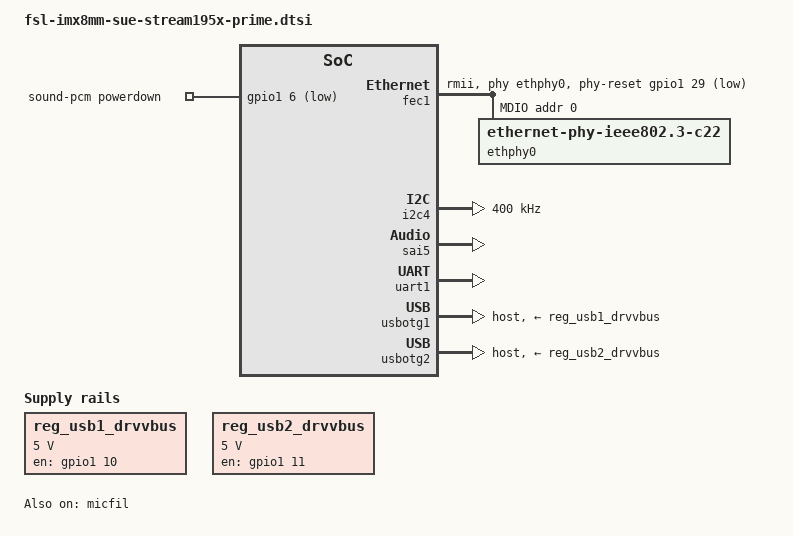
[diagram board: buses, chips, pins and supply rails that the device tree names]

/ {
	reg_usb1_drvvbus: regulator@0 {
		compatible = "regulator-fixed";
		pinctrl-names = "default";
		pinctrl-0 = <&pinctrl_usb1_drvvbus>;

		regulator-name = "usb1_drvvbus";
		regulator-min-microvolt = <5000000>;
		regulator-max-microvolt = <5000000>;
		enable-active-high;
		gpio = <&gpio1 10 GPIO_ACTIVE_HIGH>;
	};

	reg_usb2_drvvbus: regulator@1 {
		compatible = "regulator-fixed";
		pinctrl-names = "default";
		pinctrl-0 = <&pinctrl_usb2_drvvbus>;

		regulator-name = "usb2_drvvbus";
		regulator-min-microvolt = <5000000>;
		regulator-max-microvolt = <5000000>;
		enable-active-high;
		gpio = <&gpio1 11 GPIO_ACTIVE_HIGH>;
	};

	sound-pcm {
		compatible = "sue,stream195x-audio";
		sue-card,name = "Stream Audio on i.MX8MM";

		clocks = <&clk IMX8MM_AUDIO_PLL1_OUT>, <&clk IMX8MM_AUDIO_PLL2_OUT>;
		clock-names = "pll8k", "pll11k";

		powerdown-gpios = <&gpio1 6 GPIO_ACTIVE_LOW>;

		sue-card,dai-link@0 {
			format = "i2s";

			/*
			 * Do not disable the BCLK and WCLK after playback has stopped
			 * This only really makes sense if the cpu is the clock master
			 */
			continuous-clock;

			frame-master = <&dailink0_cpu>;
			bitclock-master = <&dailink0_cpu>;

			mute-gpios = <&gpio1 4 GPIO_ACTIVE_LOW>;

			/*
			 * This makes sure we always output 2 channels @ 32 bit I2S data, even
			 * on lower bit depths.
			 */
			dai-tdm-slot-num = <2>;
			dai-tdm-slot-width = <32>;

			dailink0_cpu: cpu {
				sound-dai = <&sai5>;
			};

			codec {
				use-dummy-codec;
			};
		};
	};

	sound-pdm {
		compatible = "fsl,imx-audio-micfil";
		model = "imx-audio-micfil";
		cpu-dai = <&micfil>;
	};
};

&clk {
	assigned-clocks = <&clk IMX8MM_AUDIO_PLL1>, <&clk IMX8MM_AUDIO_PLL2>;
	assigned-clock-rates = <786432000>, <722534400>;
};

&fec1 {
	pinctrl-names = "default";
	pinctrl-0 = <&pinctrl_fec1>;
	phy-mode = "rmii";
	phy-handle = <&ethphy0>;
	status = "okay";

	phy-reset-gpios = <&gpio1 29 GPIO_ACTIVE_LOW>;
	phy-reset-duration = <5>;
	phy-reset-post-delay = <5>;


	/*
	 * Override assigned-clocks and assigned-clock-rates from
	 * fsl-imx8mm.dtsi by adding IMX8MM_CLK_ENET_REF_DIV with
	 * 50 MHz to the list and setting rate of IMX8MM_CLK_ENET_REF_SRC
	 * to 100 MHz.
	 */
	assigned-clocks = <&clk IMX8MM_CLK_ENET_AXI_SRC>,
			  <&clk IMX8MM_CLK_ENET_TIMER_SRC>,
			  <&clk IMX8MM_CLK_ENET_REF_SRC>,
			  <&clk IMX8MM_CLK_ENET_TIMER_DIV>,
			  <&clk IMX8MM_CLK_ENET_REF_DIV>;
	assigned-clock-parents = <&clk IMX8MM_SYS_PLL1_266M>,
				 <&clk IMX8MM_SYS_PLL2_100M>,
				 <&clk IMX8MM_SYS_PLL2_100M>;
	assigned-clock-rates = <0>, <0>, <100000000>, <100000000>, <50000000>;

	mdio {
		#address-cells = <1>;
		#size-cells = <0>;

		ethphy0: ethernet-phy@0 {
			compatible = "ethernet-phy-ieee802.3-c22";
			reg = <0>;
		};
	};
};

&i2c4 {
	clock-frequency = <400000>;
	pinctrl-names = "default";
	pinctrl-0 = <&pinctrl_i2c4>;
	status = "okay";
};

&iomuxc {
	imx8mm-s195x-external {
		pinctrl_fec1: fec1grp {
			fsl,pins = <
				MX8MM_IOMUXC_ENET_MDC_ENET1_MDC			(IOMUX_CONFIG_SION | PAD_CTL_DSE6x)
				MX8MM_IOMUXC_ENET_MDIO_ENET1_MDIO		(PAD_CTL_DSE6x)
				MX8MM_IOMUXC_ENET_TD2_ENET1_TX_CLK		(IOMUX_CONFIG_SION | PAD_CTL_SLOW | PAD_CTL_DSE1x)
				MX8MM_IOMUXC_ENET_TD1_ENET1_RGMII_TD1		(PAD_CTL_FAST | PAD_CTL_DSE6x)
				MX8MM_IOMUXC_ENET_TD0_ENET1_RGMII_TD0		(PAD_CTL_FAST | PAD_CTL_DSE6x)
				MX8MM_IOMUXC_ENET_TX_CTL_ENET1_RGMII_TX_CTL	(PAD_CTL_FAST | PAD_CTL_DSE6x)
				MX8MM_IOMUXC_ENET_RX_CTL_ENET1_RGMII_RX_CTL	(PAD_CTL_HYS | PAD_CTL_FAST)
				MX8MM_IOMUXC_ENET_RXC_ENET1_RX_ER		(PAD_CTL_HYS | PAD_CTL_FAST)
				MX8MM_IOMUXC_ENET_RD0_ENET1_RGMII_RD0		(PAD_CTL_HYS | PAD_CTL_FAST)
				MX8MM_IOMUXC_ENET_RD1_ENET1_RGMII_RD1		(PAD_CTL_HYS | PAD_CTL_FAST)
				MX8MM_IOMUXC_ENET_RD2_GPIO1_IO28		(PAD_CTL_PE_UP | PAD_CTL_HYS | PAD_CTL_FAST)	/* PHY_INT_N */
				MX8MM_IOMUXC_ENET_RD3_GPIO1_IO29		(PAD_CTL_PE_UP | PAD_CTL_HYS | PAD_CTL_FAST)	/* PHY_RST_N */

			>;
		};

		pinctrl_i2c4: i2c4grp {
			fsl,pins = <
				MX8MM_IOMUXC_I2C4_SCL_I2C4_SCL			(IOMUX_CONFIG_SION | PAD_CTL_PE_UP | PAD_CTL_HYS | PAD_CTL_FAST | PAD_CTL_DSE6x)
				MX8MM_IOMUXC_I2C4_SDA_I2C4_SDA			(IOMUX_CONFIG_SION | PAD_CTL_PE_UP | PAD_CTL_HYS | PAD_CTL_FAST | PAD_CTL_DSE6x)
			>;
		};

		pinctrl_pdm: pdmgrp {
			fsl,pins = <
				MX8MM_IOMUXC_SAI1_RXD0_PDM_DATA0		(PAD_CTL_PE_DOWN | PAD_CTL_HYS | PAD_CTL_FAST)
				MX8MM_IOMUXC_SAI1_RXD1_PDM_DATA1		(PAD_CTL_PE_DOWN | PAD_CTL_HYS | PAD_CTL_FAST)
				MX8MM_IOMUXC_SAI1_RXD2_PDM_DATA2		(PAD_CTL_PE_DOWN | PAD_CTL_HYS | PAD_CTL_FAST)
				MX8MM_IOMUXC_SAI1_RXD3_PDM_DATA3		(PAD_CTL_PE_DOWN | PAD_CTL_HYS | PAD_CTL_FAST)
				MX8MM_IOMUXC_SAI1_TXD7_PDM_CLK			(PAD_CTL_PE_DOWN | PAD_CTL_HYS | PAD_CTL_FAST | PAD_CTL_DSE4x)
			>;
		};

		pinctrl_sai5: sai5grp {
			fsl,pins = <
				MX8MM_IOMUXC_SAI5_RXD0_SAI5_RX_DATA0		(PAD_CTL_PE_DOWN | PAD_CTL_HYS | PAD_CTL_FAST)
				MX8MM_IOMUXC_SAI5_MCLK_SAI5_MCLK		(PAD_CTL_PE_DOWN | PAD_CTL_HYS | PAD_CTL_FAST | PAD_CTL_DSE4x)
				MX8MM_IOMUXC_SAI2_RXFS_SAI5_TX_SYNC		(PAD_CTL_PE_DOWN | PAD_CTL_HYS | PAD_CTL_FAST | PAD_CTL_DSE4x)
				MX8MM_IOMUXC_SAI2_RXC_SAI5_TX_BCLK		(PAD_CTL_PE_DOWN | PAD_CTL_HYS | PAD_CTL_FAST | PAD_CTL_DSE4x)
				MX8MM_IOMUXC_SAI2_RXD0_SAI5_TX_DATA0		(PAD_CTL_PE_DOWN | PAD_CTL_HYS | PAD_CTL_FAST | PAD_CTL_DSE4x)
			>;
		};

		pinctrl_uart1: uart1grp {
			fsl,pins = <
				MX8MM_IOMUXC_UART1_RXD_UART1_DCE_RX	(PAD_CTL_PE_DOWN | PAD_CTL_HYS)
				MX8MM_IOMUXC_UART1_TXD_UART1_DCE_TX	(PAD_CTL_PE_DOWN | PAD_CTL_HYS)
			>;
		};

		pinctrl_usb1_drvvbus: usb1drvvbusgrp {
			fsl,pins = <
				MX8MM_IOMUXC_GPIO1_IO10_GPIO1_IO10	(PAD_CTL_PE_DOWN | PAD_CTL_HYS)
			>;
		};

		pinctrl_usb2_drvvbus: usb2drvvbusgrp {
			fsl,pins = <
				MX8MM_IOMUXC_GPIO1_IO11_GPIO1_IO11	(PAD_CTL_PE_DOWN | PAD_CTL_HYS)
			>;
		};
	};
};

&micfil {
	pinctrl-names = "default";
	pinctrl-0 = <&pinctrl_pdm>;
	assigned-clocks = <&clk IMX8MM_CLK_PDM_SRC>, <&clk IMX8MM_CLK_PDM_DIV>;
	assigned-clock-parents = <&clk IMX8MM_AUDIO_PLL1_OUT>;
	assigned-clock-rates = <0>, <196608000>;
	status = "okay";
};

&sai5 {
	#sound-dai-cells = <0>;	/* This is required for the simple-audio-card to work */
	pinctrl-names = "default";
	pinctrl-0 = <&pinctrl_sai5>;
	assigned-clocks = <&clk IMX8MM_CLK_SAI5_SRC>,
			<&clk IMX8MM_CLK_SAI5_DIV>;
	assigned-clock-parents = <&clk IMX8MM_AUDIO_PLL1_OUT>;
	assigned-clock-rates = <0>, <24576000>;

	/* This only adds the pll8k and the pll11k clock to the list */
	clocks = <&clk IMX8MM_CLK_SAI5_IPG>, <&clk IMX8MM_CLK_DUMMY>,
		 <&clk IMX8MM_CLK_SAI5_ROOT>, <&clk IMX8MM_CLK_DUMMY>,
		 <&clk IMX8MM_CLK_DUMMY>,
		 <&clk IMX8MM_AUDIO_PLL1_OUT>, <&clk IMX8MM_AUDIO_PLL2_OUT>;
	clock-names = "bus", "mclk0",
		      "mclk1", "mclk2",
		      "mclk3",
		      "pll8k", "pll11k";

	status = "okay";
};

&uart1 {
	pinctrl-names = "default";
	pinctrl-0 = <&pinctrl_uart1>;
	status = "okay";
};

&usbotg1 {
	dr_mode = "host";
	status = "okay";
	vbus-supply = <&reg_usb1_drvvbus>;
};

&usbotg2 {
	dr_mode = "host";
	status = "okay";
	vbus-supply = <&reg_usb2_drvvbus>;
};

